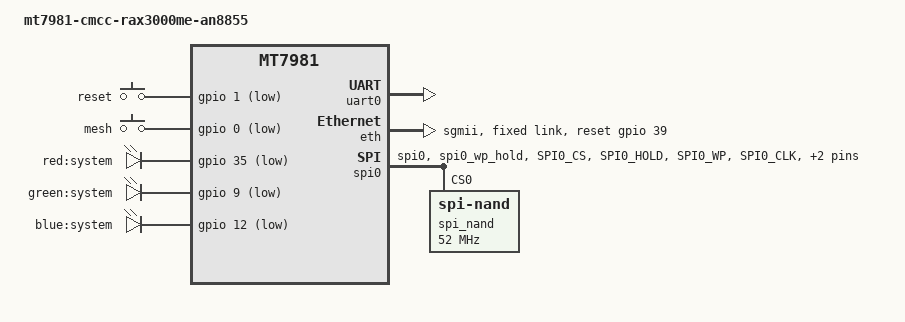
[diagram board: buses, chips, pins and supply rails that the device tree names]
// SPDX-License-Identifier: GPL-2.0
/dts-v1/;
#include "mt7981.dtsi"
#include <dt-bindings/gpio/gpio.h>

/ {
	#address-cells = <1>;
	#size-cells = <1>;
	model = "mt7981-cmcc-rax3000me-an8855";
	compatible = "mediatek,mt7981", "mediatek,mt7981-rfb";

	chosen {
		stdout-path = &uart0;
		tick-timer = &timer0;
	};

	config {
		bootcmd = "mtkboardboot";
		blink_led = "blue:system";
		system_led = "green:system";
	};

	/* 按键配置 */
	gpio-keys {
		compatible = "gpio-keys";

		reset-button {
			label = "reset";
			gpios = <&gpio 1 GPIO_ACTIVE_LOW>;
		};

		mesh-button {
			label = "mesh";
			gpios = <&gpio 0 GPIO_ACTIVE_LOW>;
		};
	};

	/* LED配置 */
	leds {
		compatible = "gpio-leds";

		led@0 {
			label = "red:system";
			gpios = <&gpio 35 GPIO_ACTIVE_LOW>;
		};

		led@1 {
			label = "green:system";
			gpios = <&gpio 9 GPIO_ACTIVE_LOW>;
		};

		led@2 {
			label = "blue:system";
			gpios = <&gpio 12 GPIO_ACTIVE_LOW>;
		};
	};
};

/* 串口配置 */
&uart0 {
	status = "okay";
};

/* 网卡核心配置 - 关键修改点 */
&eth {
	status = "okay";
	mediatek,gmac-id = <0>;
	phy-mode = "sgmii";
	
	/* 强制指定为 AN8855 */
	mediatek,switch = "an8855";
	
	/* 复位引脚，通常 rax3000 系列都是 gpio 39 */
	reset-gpios = <&gpio 39 GPIO_ACTIVE_HIGH>;

	fixed-link {
		speed = <1000>;
		full-duplex;
	};
};

/* SPI 引脚复用配置 */
&pinctrl {
	spi_flash_pins: spi0-pins-func-1 {
		mux {
			function = "flash";
			groups = "spi0", "spi0_wp_hold";
		};

		conf-pu {
			pins = "SPI0_CS", "SPI0_HOLD", "SPI0_WP";
			drive-strength = <MTK_DRIVE_8mA>;
			bias-pull-up = <MTK_PUPD_SET_R1R0_11>;
		};

		conf-pd {
			pins = "SPI0_CLK", "SPI0_MOSI", "SPI0_MISO";
			drive-strength = <MTK_DRIVE_8mA>;
			bias-pull-down = <MTK_PUPD_SET_R1R0_11>;
		};
	};
};

/* SPI NAND Flash 配置 */
&spi0 {
	#address-cells = <1>;
	#size-cells = <0>;
	pinctrl-names = "default";
	pinctrl-0 = <&spi_flash_pins>;
	status = "okay";
	must_tx;
	enhance_timing;
	dma_ext;
	ipm_design;
	support_quad;
	tick_dly = <2>;
	sample_sel = <0>;

	spi_nand@0 {
		compatible = "spi-nand";
		reg = <0>;
		spi-max-frequency = <52000000>;
	};
};

&watchdog {
	status = "disabled";
};
